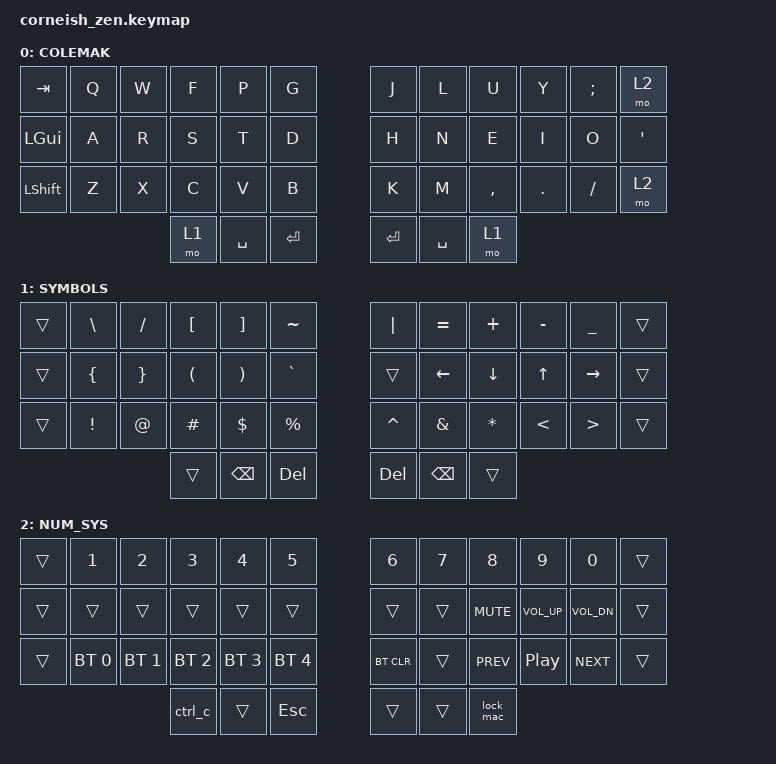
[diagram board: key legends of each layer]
#include <behaviors.dtsi>
#include <dt-bindings/zmk/keys.h>
#include <dt-bindings/zmk/bt.h>

/ {
  chosen {
    zmk,matrix_transform = &default_transform;
    //zmk,matrix_transform = &five_column_transform;
  };
};

/{
        macros {
                lock_mac: lock_mac {
                label = "ZM_lock_mac";
                compatible = "zmk,behavior-macro";
                #binding-cells = <0>;
                bindings
                        = <&macro_press &kp LCTRL>
                , <&macro_press &kp LGUI>
                        , <&macro_tap &kp Q>
                        , <&macro_release &kp LGUI>
                        , <&macro_release &kp LCTRL>
                        ;
                };
                ctrl_c: ctrl_c {
                label = "ZM_ctrl_c";
                compatible = "zmk,behavior-macro";
                #binding-cells = <0>;
                bindings
                        = <&macro_press &kp LCTRL>
                        , <&macro_tap &kp C>
                        , <&macro_release &kp LCTRL>
                        ;
                };
        };
};

/ {
        keymap {
                compatible = "zmk,keymap";

                default_layer {
                        label = "COLEMAK";
// -----------------------------------------------------------------------------------------
// | TAB  |  Q  |  W  |  F  |  P  |  G  |   |  J  |  L   |  U  |  Y  |  ;  | RSE    |
// | GUI  |  A  |  R  |  S  |  T  |  D  |   |  H  |  N   |  E  |  I  |  O  |  '     |
// | SHFT |  Z  |  X  |  C  |  V  |  B  |   |  K  |  M   |  ,  |  .  |  /  | LCTRL  |
//                    | LWR | SPC | ENT |   | ENT | SPC  | LWR |
                        bindings = <
   &kp TAB   &kp Q &kp W &kp F &kp P     &kp G       &kp J   &kp L     &kp U     &kp Y   &kp SEMICOLON &mo 2
   &kp LGUI  &kp A &kp R &kp S &kp T     &kp D       &kp H   &kp N     &kp E     &kp  I  &kp O         &kp SQT
   &kp LSHFT &kp Z &kp X &kp C &kp V     &kp B       &kp K   &kp M     &kp COMMA &kp DOT &kp FSLH      &mo 2
                         &mo 1 &kp SPACE &kp RET     &kp RET &kp SPACE &mo 1
                        >;
                };
                lower_layer {
                        label = "SYMBOLS";
// -----------------------------------------------------------------------------------------
// |     |  /  |  \  |  [  |  ]  |  ~  |   |  |  |  =  |  +  |  -  |  _  |      |
// |     |  {  |  }  |  (  |  )  |  `  |   |     | LFT | DWN |  UP | RGT |      |
// |     |  !  |  @  |  #  |  $  |  %  |   |  ^  |  &  |  *  |  <  |  >  |      |
//                   |     | BSP | DEL |   | DEL | BSP |     |
                        bindings = <
   &trans  &kp BSLH &kp FSLH &kp LBKT &kp RBKT &kp TILDE     &kp PIPE  &kp EQUAL &kp PLUS  &kp MINUS &kp UNDERSCORE &trans
   &trans  &kp LBRC &kp RBRC &kp LPAR &kp RPAR &kp GRAVE     &trans    &kp LEFT  &kp DOWN  &kp UP    &kp RIGHT      &trans 
   &trans  &kp EXCL &kp AT   &kp HASH &kp DLLR &kp PRCNT     &kp CARET &kp AMPS  &kp ASTRK &kp LT    &kp GT         &trans
                             &trans   &kp BSPC &kp DEL       &kp DEL   &kp BSPC  &trans
                        >;
                };

                raise_layer {
                        label = "NUM_SYS";
// -----------------------------------------------------------------------------------------
// |     |  1  |  2  |  3  |  4  |  5  |   |  6  |  7  |  8  |  9  |  0  |      |
// |     |     |     |     |     |     |   |     |     |MUTE |Vol+ |Vol- |      |
// |     | BT1 | BT2 | BT3 | BT4 | BT5 |   |     |     |Prev |Play |Next |      |
//                   |CTRLC|     | ESC |   |     |     |LOCK |
                        bindings = <
   &trans &kp N1       &kp N2       &kp N3       &kp N4       &kp N5            &kp N6      &kp N7  &kp N8     &kp N9       &kp N0       &trans
   &trans &trans       &trans       &trans       &trans       &trans            &trans      &trans  &kp C_MUTE &kp C_VOL_UP &kp C_VOL_DN &trans
   &trans &bt BT_SEL 0 &bt BT_SEL 1 &bt BT_SEL 2 &bt BT_SEL 3 &bt BT_SEL 4      &bt BT_CLR  &trans  &kp C_PREV &kp C_PP     &kp C_NEXT   &trans
                    	            &ctrl_c      &trans       &kp ESC           &trans      &trans  &lock_mac
                        >;
                };
        };
};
